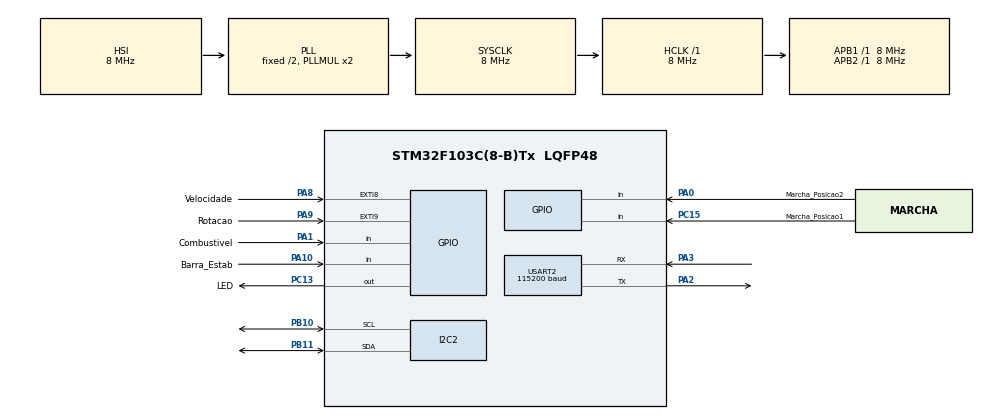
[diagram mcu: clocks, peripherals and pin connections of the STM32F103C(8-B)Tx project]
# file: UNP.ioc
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Dma.Request0=USART2_TX
Dma.USART2_TX.0.Direction=DMA_MEMORY_TO_PERIPH
Dma.USART2_TX.0.Instance=DMA1_Channel7
Dma.USART2_TX.0.MemDataAlignment=DMA_MDATAALIGN_BYTE
Dma.USART2_TX.0.MemInc=DMA_MINC_ENABLE
Dma.USART2_TX.0.Mode=DMA_NORMAL
Dma.USART2_TX.0.PeriphDataAlignment=DMA_PDATAALIGN_BYTE
Dma.USART2_TX.0.PeriphInc=DMA_PINC_DISABLE
Dma.USART2_TX.0.Priority=DMA_PRIORITY_VERY_HIGH
I2C2.OwnAddress=0
Mcu.Family=STM32F1
Mcu.Name=STM32F103C(8-B)Tx
Mcu.Package=LQFP48
NVIC.DMA1_Channel7_IRQn=true\:0\:0\:false\:false\:true\:false\:true
NVIC.EXTI9_5_IRQn=true\:0\:0\:false\:false\:true\:true\:true
NVIC.PriorityGroup=NVIC_PRIORITYGROUP_4
NVIC.TIM2_IRQn=true\:0\:0\:false\:false\:true\:true\:true
NVIC.USART2_IRQn=true\:0\:0\:false\:false\:true\:true\:true
PA0-WKUP.GPIO_Label=Marcha_Posicao2
PA0-WKUP.GPIO_PuPd=GPIO_PULLDOWN
PA0-WKUP.Signal=GPIO_Input
PA1.GPIO_Label=Combustivel
PA1.GPIO_PuPd=GPIO_PULLDOWN
PA1.Signal=GPIO_Input
PA10.GPIO_Label=Barra_Estab
PA10.GPIO_PuPd=GPIO_PULLDOWN
PA10.Signal=GPIO_Input
PA13.Mode=Serial_Wire
PA13.Signal=SYS_JTMS-SWDIO
PA14.Mode=Serial_Wire
PA14.Signal=SYS_JTCK-SWCLK
PA2.Mode=Asynchronous
PA2.Signal=USART2_TX
PA3.Mode=Asynchronous
PA3.Signal=USART2_RX
PA8.GPIO_Label=Velocidade
PA8.GPIO_PuPd=GPIO_PULLUP
PA8.Signal=GPXTI8
PA9.GPIO_Label=Rotacao
PA9.GPIO_PuPd=GPIO_PULLUP
PA9.Signal=GPXTI9
PB10.Mode=I2C
PB10.Signal=I2C2_SCL
PB11.Mode=I2C
PB11.Signal=I2C2_SDA
PC13-TAMPER-RTC.GPIO_Label=LED
PC13-TAMPER-RTC.GPIO_PuPd=GPIO_PULLDOWN
PC13-TAMPER-RTC.Signal=GPIO_Output
PC15-OSC32_OUT.GPIO_Label=Marcha_Posicao1
PC15-OSC32_OUT.GPIO_PuPd=GPIO_PULLDOWN
PC15-OSC32_OUT.Signal=GPIO_Input
ProjectManager.HeapSize=0x200
ProjectManager.StackSize=0x400
ProjectManager.TargetToolchain=STM32CubeIDE
RCC.AHBFreq_Value=8000000
RCC.APB1Freq_Value=8000000
RCC.APB1TimFreq_Value=8000000
RCC.APB2Freq_Value=8000000
RCC.APB2TimFreq_Value=8000000
RCC.HCLKFreq_Value=8000000
RCC.SYSCLKFreq_VALUE=8000000
RCC.SYSCLKSource=RCC_SYSCLKSOURCE_PLLCLK
RCC.USBFreq_Value=8000000
TIM2.ClockDivision=TIM_CLOCKDIVISION_DIV1
TIM2.Period=250
TIM2.Prescaler=7999
USART2.BaudRate=115200
USART2.VirtualMode=VM_ASYNC
VP_TIM2_VS_ClockSourceINT.Mode=Internal
board=custom

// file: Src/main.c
/* USER CODE BEGIN Header */
/**
  ******************************************************************************
  * @file           : main.c
  * @brief          : Main program body
  ******************************************************************************
  * @attention
  *
  * <h2><center>&copy; Copyright (c) 2019 STMicroelectronics.
  * All rights reserved.</center></h2>
  *
  * This software component is licensed by ST under BSD 3-Clause license,
  * the "License"; You may not use this file except in compliance with the
  * License. You may obtain a copy of the License at:
  *                        opensource.org/licenses/BSD-3-Clause
  *
  ******************************************************************************
  */
/* USER CODE END Header */

#include "main.h"

/* USER CODE BEGIN PD */
#define PAINEL_BUFFSIZE 21

#define MLX90614_ADDR 0x5A
#define MLX90614_TA 0x06
#define MLX90614_TOBJ 0x07

#define MPU6050_ADDR 0x68
#define MPU6050_ACELEROMETRO 0X3B
#define MPU6050_GIROSCOPIO 0X43
/* USER CODE END PD */

I2C_HandleTypeDef hi2c2;

TIM_HandleTypeDef htim2;

UART_HandleTypeDef huart2;
DMA_HandleTypeDef hdma_usart2_tx;

/* USER CODE BEGIN PV */
/*
	informacoesPainel:
		0: rotacao
		1: velocidade
		2: combustivel (atribuido valor 1 quando estiver na reserva)
		3: marcha engatada
		4: barra estabilizadora (atribuido valor 1 quando...)

	infTelemetria
		5: temperatura ambiente lsb
		6: temperatura ambiente msb
		7: temperatura objeto lsb
		8: temperatura objeto msb
		9: g_x msb
		10: g_x lsb
		11: g_y msb
		12: g_y lsb
		13: g_z msb
		14: g_z lsb
		15: a_x msb
		16: a_x lsb
		17: a_y msb
		18: a_y lsb
		19: a_z msb
		20: a_z lsb
 */
uint8_t informacoesPainel[PAINEL_BUFFSIZE];
uint8_t bufTemp[3];
uint8_t bufMPU[6];
uint8_t pulsosRotacao = 0;
uint8_t pulsosVelocidade = 0;
uint8_t marchaEngatada = 0;
uint8_t contadorCapacitivo = 0;
uint8_t temCombustivel = 0;
uint8_t contadorSegundosVel = 0;

/* USER CODE END PV */

void SystemClock_Config(void);
static void MX_GPIO_Init(void);
static void MX_DMA_Init(void);
static void MX_TIM2_Init(void);
static void MX_USART2_UART_Init(void);
static void MX_I2C2_Init(void);
/* USER CODE BEGIN PFP */
void verificaRotacao();
void verificaVelocidade();
void verificaCombustivel();
void entraReserva();
void saiReserva();
void verificaMarchaEngatada();
void temperaturaAmbiente();
void temperaturaObjeto();
void leTemperatura(uint8_t reg);
void leituraGiroscopio();
void leituraAcelerometro();
void leituraRegMPU(uint8_t reg);
/* USER CODE END PFP */

int main(void)
{

  /* MCU Configuration--------------------------------------------------------*/

  /* Reset of all peripherals, Initializes the Flash interface and the Systick. */
  HAL_Init();

  /* Configure the system clock */
  SystemClock_Config();

  /* USER CODE BEGIN SysInit */
  for(int i = 0; i < 21; i++){
	  informacoesPainel[i] = 0;
  }
  /* USER CODE END SysInit */

  /* Initialize all configured peripherals */
  MX_GPIO_Init();
  MX_DMA_Init();
  MX_TIM2_Init();
  MX_USART2_UART_Init();
  MX_I2C2_Init();
  /* USER CODE BEGIN 2 */
  HAL_TIM_Base_Start_IT(&htim2);

  uint8_t Data = 0;
  HAL_I2C_Mem_Write(&hi2c2, (MPU6050_ADDR<<1), 0x6B, 1,&Data, 1, 1000);
  Data = 0x07;
  HAL_I2C_Mem_Write(&hi2c2, (MPU6050_ADDR<<1), 0x19, 1, &Data, 1, 1000);
  /* USER CODE END 2 */

  /* Infinite loop */
  while (1)
  {

  }
}

void SystemClock_Config(void)
{
  RCC_OscInitTypeDef RCC_OscInitStruct = {0};
  RCC_ClkInitTypeDef RCC_ClkInitStruct = {0};

  /** Initializes the CPU, AHB and APB busses clocks
  */
  RCC_OscInitStruct.OscillatorType = RCC_OSCILLATORTYPE_HSI;
  RCC_OscInitStruct.HSIState = RCC_HSI_ON;
  RCC_OscInitStruct.HSICalibrationValue = RCC_HSICALIBRATION_DEFAULT;
  RCC_OscInitStruct.PLL.PLLState = RCC_PLL_ON;
  RCC_OscInitStruct.PLL.PLLSource = RCC_PLLSOURCE_HSI_DIV2;
  RCC_OscInitStruct.PLL.PLLMUL = RCC_PLL_MUL2;
  if (HAL_RCC_OscConfig(&RCC_OscInitStruct) != HAL_OK)
  {
    Error_Handler();
  }
  /** Initializes the CPU, AHB and APB busses clocks
  */
  RCC_ClkInitStruct.ClockType = RCC_CLOCKTYPE_HCLK|RCC_CLOCKTYPE_SYSCLK
                              |RCC_CLOCKTYPE_PCLK1|RCC_CLOCKTYPE_PCLK2;
  RCC_ClkInitStruct.SYSCLKSource = RCC_SYSCLKSOURCE_PLLCLK;
  RCC_ClkInitStruct.AHBCLKDivider = RCC_SYSCLK_DIV1;
  RCC_ClkInitStruct.APB1CLKDivider = RCC_HCLK_DIV1;
  RCC_ClkInitStruct.APB2CLKDivider = RCC_HCLK_DIV1;

  if (HAL_RCC_ClockConfig(&RCC_ClkInitStruct, FLASH_LATENCY_0) != HAL_OK)
  {
    Error_Handler();
  }
}

static void MX_I2C2_Init(void)
{

  hi2c2.Instance = I2C2;
  hi2c2.Init.ClockSpeed = 100000;
  hi2c2.Init.DutyCycle = I2C_DUTYCYCLE_2;
  hi2c2.Init.OwnAddress1 = 0;
  hi2c2.Init.AddressingMode = I2C_ADDRESSINGMODE_7BIT;
  hi2c2.Init.DualAddressMode = I2C_DUALADDRESS_DISABLE;
  hi2c2.Init.OwnAddress2 = 0;
  hi2c2.Init.GeneralCallMode = I2C_GENERALCALL_DISABLE;
  hi2c2.Init.NoStretchMode = I2C_NOSTRETCH_DISABLE;
  if (HAL_I2C_Init(&hi2c2) != HAL_OK)
  {
    Error_Handler();
  }

}

static void MX_TIM2_Init(void)
{

  TIM_ClockConfigTypeDef sClockSourceConfig = {0};
  TIM_MasterConfigTypeDef sMasterConfig = {0};

  htim2.Instance = TIM2;
  htim2.Init.Prescaler = 7999;
  htim2.Init.CounterMode = TIM_COUNTERMODE_UP;
  htim2.Init.Period = 250;
  htim2.Init.ClockDivision = TIM_CLOCKDIVISION_DIV1;
  htim2.Init.AutoReloadPreload = TIM_AUTORELOAD_PRELOAD_DISABLE;
  if (HAL_TIM_Base_Init(&htim2) != HAL_OK)
  {
    Error_Handler();
  }
  sClockSourceConfig.ClockSource = TIM_CLOCKSOURCE_INTERNAL;
  if (HAL_TIM_ConfigClockSource(&htim2, &sClockSourceConfig) != HAL_OK)
  {
    Error_Handler();
  }
  sMasterConfig.MasterOutputTrigger = TIM_TRGO_RESET;
  sMasterConfig.MasterSlaveMode = TIM_MASTERSLAVEMODE_DISABLE;
  if (HAL_TIMEx_MasterConfigSynchronization(&htim2, &sMasterConfig) != HAL_OK)
  {
    Error_Handler();
  }

}

static void MX_USART2_UART_Init(void)
{

  huart2.Instance = USART2;
  huart2.Init.BaudRate = 115200;
  huart2.Init.WordLength = UART_WORDLENGTH_8B;
  huart2.Init.StopBits = UART_STOPBITS_1;
  huart2.Init.Parity = UART_PARITY_NONE;
  huart2.Init.Mode = UART_MODE_TX_RX;
  huart2.Init.HwFlowCtl = UART_HWCONTROL_NONE;
  huart2.Init.OverSampling = UART_OVERSAMPLING_16;
  if (HAL_UART_Init(&huart2) != HAL_OK)
  {
    Error_Handler();
  }

}

static void MX_DMA_Init(void)
{

  /* DMA controller clock enable */
  __HAL_RCC_DMA1_CLK_ENABLE();

  /* DMA interrupt init */
  /* DMA1_Channel7_IRQn interrupt configuration */
  HAL_NVIC_SetPriority(DMA1_Channel7_IRQn, 0, 0);
  HAL_NVIC_EnableIRQ(DMA1_Channel7_IRQn);

}

static void MX_GPIO_Init(void)
{
  GPIO_InitTypeDef GPIO_InitStruct = {0};

  /* GPIO Ports Clock Enable */
  __HAL_RCC_GPIOC_CLK_ENABLE();
  __HAL_RCC_GPIOA_CLK_ENABLE();
  __HAL_RCC_GPIOB_CLK_ENABLE();

  /*Configure GPIO pin Output Level */
  HAL_GPIO_WritePin(LED_GPIO_Port, LED_Pin, GPIO_PIN_RESET);

  /*Configure GPIO pin : LED_Pin */
  GPIO_InitStruct.Pin = LED_Pin;
  GPIO_InitStruct.Mode = GPIO_MODE_OUTPUT_PP;
  GPIO_InitStruct.Pull = GPIO_PULLDOWN;
  GPIO_InitStruct.Speed = GPIO_SPEED_FREQ_LOW;
  HAL_GPIO_Init(LED_GPIO_Port, &GPIO_InitStruct);

  /*Configure GPIO pin : Marcha_Posicao1_Pin */
  GPIO_InitStruct.Pin = Marcha_Posicao1_Pin;
  GPIO_InitStruct.Mode = GPIO_MODE_INPUT;
  GPIO_InitStruct.Pull = GPIO_PULLDOWN;
  HAL_GPIO_Init(Marcha_Posicao1_GPIO_Port, &GPIO_InitStruct);

  /*Configure GPIO pins : Marcha_Posicao2_Pin Combustivel_Pin Barra_Estab_Pin */
  GPIO_InitStruct.Pin = Marcha_Posicao2_Pin|Combustivel_Pin|Barra_Estab_Pin;
  GPIO_InitStruct.Mode = GPIO_MODE_INPUT;
  GPIO_InitStruct.Pull = GPIO_PULLDOWN;
  HAL_GPIO_Init(GPIOA, &GPIO_InitStruct);

  /*Configure GPIO pins : Velocidade_Pin Rotacao_Pin */
  GPIO_InitStruct.Pin = Velocidade_Pin|Rotacao_Pin;
  GPIO_InitStruct.Mode = GPIO_MODE_IT_RISING;
  GPIO_InitStruct.Pull = GPIO_PULLUP;
  HAL_GPIO_Init(GPIOA, &GPIO_InitStruct);

  /* EXTI interrupt init*/
  HAL_NVIC_SetPriority(EXTI9_5_IRQn, 0, 0);
  HAL_NVIC_EnableIRQ(EXTI9_5_IRQn);

}

/* USER CODE BEGIN 4 */
void HAL_GPIO_EXTI_Callback(uint16_t GPIO_Pin) {
 if (GPIO_Pin == GPIO_PIN_8) {
	 pulsosVelocidade++;
 }

 if (GPIO_Pin == GPIO_PIN_9) {
	 pulsosRotacao++;
 }
}

void HAL_TIM_PeriodElapsedCallback(TIM_HandleTypeDef *htim){
	verificaRotacao();
	verificaVelocidade();
	verificaCombustivel();
	verificaMarchaEngatada();
	informacoesPainel[4] = HAL_GPIO_ReadPin(Barra_Estab_GPIO_Port, GPIO_PIN_10);
	temperaturaAmbiente();
	temperaturaObjeto();
	leituraGiroscopio();
	leituraAcelerometro();
	HAL_UART_Transmit_DMA(&huart2, informacoesPainel, PAINEL_BUFFSIZE);
}

void verificaRotacao(){
	if(pulsosRotacao <= 5){
		informacoesPainel[0] = 0;
	}else{
		if(pulsosRotacao >= 6 && pulsosRotacao <= 11){
			informacoesPainel[0] = ((pulsosRotacao-8)/2) + 1;
		}else{
			if(pulsosRotacao >= 17){
				informacoesPainel[0] = 8;
			}else{
				informacoesPainel[0] = pulsosRotacao - 9;
			}
		}
	}
	pulsosRotacao = 0;
	/*
	if(pulsosRotacao <= 7){
		informacoesPainel[0] = 0;
	}else{
		if(pulsosRotacao >= 8 && pulsosRotacao <= 11){
				 informacoesPainel[0] = 1;
		}else{
			if(pulsosRotacao >= 30){
				informacoesPainel[0] = 8;
			}else{
				informacoesPainel[0] = ((pulsosRotacao-12)/3) + 2;
			}
		}
	}
	*/

	//informacoesPainel[0] = pulsosRotacao;
}

void verificaVelocidade(){
	contadorSegundosVel++;
	if(contadorSegundosVel == 2){
		informacoesPainel[1] = pulsosVelocidade * 1.413675; //velocidade = pulsos * (2*pi/4) * raio[0.25] * tempo[1] * 3,6
		pulsosVelocidade = 0;
		contadorSegundosVel = 0;
		HAL_GPIO_TogglePin(LED_GPIO_Port, LED_Pin);
	}
}

void verificaCombustivel(){
	if(informacoesPainel[2] == 0){
		entraReserva();
	}else{
		saiReserva();
	}
}

void entraReserva(){
	contadorCapacitivo++;
	if(HAL_GPIO_ReadPin(Combustivel_GPIO_Port, GPIO_PIN_1) == 1){
		temCombustivel++;
	}
	if(contadorCapacitivo == 10){
		if(temCombustivel > 5){
			informacoesPainel[2] = 0;
		}else{
			informacoesPainel[2] = 1;
		}
		temCombustivel = 0;
		contadorCapacitivo = 0;
	}
}

void saiReserva(){
	contadorCapacitivo++;
	if(HAL_GPIO_ReadPin(Combustivel_GPIO_Port, GPIO_PIN_1) == 1){
		temCombustivel++;
	}
	if(contadorCapacitivo == 10){
		if(temCombustivel == 10){
			informacoesPainel[2] = 0;
		}
		temCombustivel = 0;
		contadorCapacitivo = 0;
	}
}

void verificaMarchaEngatada(){
	if(HAL_GPIO_ReadPin(Marcha_Posicao1_GPIO_Port, GPIO_PIN_15) == 1 &&
			HAL_GPIO_ReadPin(Marcha_Posicao2_GPIO_Port, GPIO_PIN_0) == 1){
		informacoesPainel[3] = 3;
	}else{
		if(HAL_GPIO_ReadPin(Marcha_Posicao1_GPIO_Port, GPIO_PIN_15) == 1){
			informacoesPainel[3] = 1;
		}else{
			if(HAL_GPIO_ReadPin(Marcha_Posicao2_GPIO_Port, GPIO_PIN_0) == 1){
				informacoesPainel[3] = 2;
			}else{
				informacoesPainel[3] = 0;
			}
		}
	}
}

void temperaturaAmbiente(){
	leTemperatura(MLX90614_TA);
	informacoesPainel[5] = bufTemp[0];
	informacoesPainel[6] = bufTemp[1];
}

void temperaturaObjeto(){
	leTemperatura(MLX90614_TOBJ);
	informacoesPainel[7] = bufTemp[0];
	informacoesPainel[8] = bufTemp[1];
}

void leTemperatura(uint8_t reg){
	HAL_I2C_Mem_Read(&hi2c2, (MLX90614_ADDR<<1), reg, 1, bufTemp, 3, 100);

}

void leituraGiroscopio(){
	leituraRegMPU(MPU6050_GIROSCOPIO);
	for(int i = 0; i < 6; i++){
		informacoesPainel[9+i] = bufMPU[i];
	}
}

void leituraAcelerometro(){
	leituraRegMPU(MPU6050_ACELEROMETRO);
	for(int i = 0; i < 6; i++){
		informacoesPainel[15+i] = bufMPU[i];
	}
}

void leituraRegMPU(uint8_t reg){
	HAL_I2C_Mem_Read(&hi2c2, (MPU6050_ADDR<<1), reg, 1, bufMPU, 6, 100);
}

/* USER CODE END 4 */

void Error_Handler(void)
{
}

/************************ (C) COPYRIGHT STMicroelectronics *****END OF FILE****/
